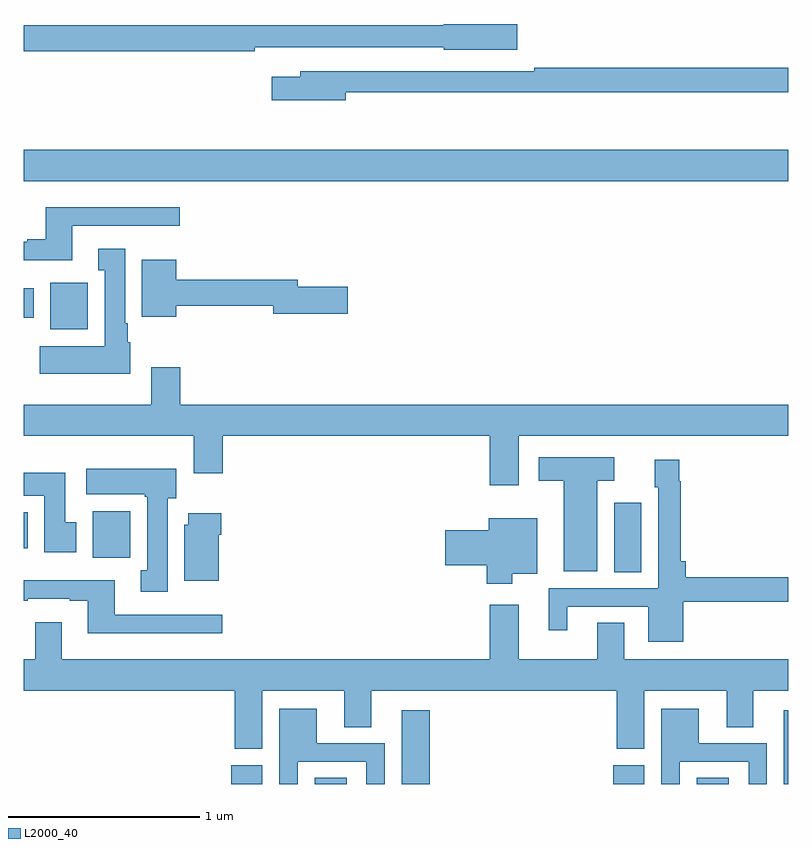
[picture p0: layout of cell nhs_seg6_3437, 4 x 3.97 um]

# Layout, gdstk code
import gdstk
lib = gdstk.Library(unit=1e-6, precision=1e-09)
def R(c, l, rs):  # rectangles x0, y0, x1, y1
    for r in rs: c.add(gdstk.rectangle(r[:2], r[2:], *l))
def P(c, l, *ps):  # polygons
    for p in ps: c.add(gdstk.Polygon(p, *l))
L2000_40 = (2000, 40)

nhs_seg6_3437 = lib.new_cell('nhs_seg6_3437')
R(nhs_seg6_3437, L2000_40, [(314.087,961.5,314.248,961.599), (314.522,961.5,314.689,961.532), (314.978,961.5,315.125,961.885), (316.085,961.5,316.246,961.599), (316.52,961.5,316.687,961.532), (316.976,961.5,317,961.885), (316.088,962.608,316.231,962.971), (313.361,962.684,313.558,962.926), (313,962.732,313.021,962.92), (313.139,963.878,313.336,964.12), (313,963.937,313.054,964.093), (313,964.652,317,964.816)])
P(nhs_seg6_3437, L2000_40, [(314.21,965.352),(315.198,965.352),(315.198,965.339),(315.583,965.339),(315.583,965.474),(315.198,965.474),(315.198,965.468),(313,965.468),(313,965.332),(314.21,965.332)],
  [(314.686,965.118),(317,965.118),(317,965.246),(315.67,965.246),(315.67,965.226),(314.447,965.226),(314.447,965.197),(314.298,965.197),(314.298,965.075),(314.686,965.075)],
  [(313.255,964.419),(313.816,964.419),(313.816,964.516),(313.115,964.516),(313.115,964.348),(313.019,964.348),(313.019,964.335),(313,964.335),(313,964.238),(313.255,964.238)],
  [(313.558,963.81),(313.546,963.81),(313.546,963.91),(313.531,963.91),(313.531,964.3),(313.391,964.3),(313.391,964.187),(313.424,964.187),(313.424,963.79),(313.085,963.79),(313.085,963.644),(313.558,963.644)],
  [(313.798,964),(314.306,964),(314.306,963.958),(314.695,963.958),(314.695,964.1),(314.434,964.1),(314.434,964.136),(313.798,964.136),(313.798,964.24),(313.619,964.24),(313.619,963.944),(313.798,963.944)],
  [(313.82,963.679),(313.667,963.679),(313.667,963.484),(313,963.484),(313,963.32),(313.889,963.32),(313.889,963.126),(314.042,963.126),(314.042,963.32),(315.437,963.32),(315.437,963.063),(315.589,963.063),(315.589,963.32),(317,963.32),(317,963.484),(313.82,963.484)],
  [(316,963.086),(316.09,963.086),(316.09,963.208),(315.693,963.208),(315.693,963.086),(315.824,963.086),(315.824,962.612),(316,962.612)],
  [(316.45,962.454),(317,962.454),(317,962.582),(316.463,962.582),(316.463,962.665),(316.436,962.665),(316.436,963.083),(316.429,963.083),(316.429,963.196),(316.301,963.196),(316.301,963.051),(316.32,963.051),(316.32,962.523),(315.746,962.523),(315.746,962.304),(315.844,962.304),(315.844,962.427),(316.268,962.427),(316.268,962.243),(316.45,962.243)],
  [(313.753,962.994),(313.798,962.994),(313.798,963.148),(313.329,963.148),(313.329,963.014),(313.633,963.014),(313.633,963.001),(313.646,963.001),(313.646,962.618),(313.613,962.618),(313.613,962.505),(313.753,962.505)],
  [(313.276,962.868),(313.219,962.868),(313.219,963.127),(313,963.127),(313,963.008),(313.109,963.008),(313.109,962.712),(313.276,962.712)],
  [(314.02,962.804),(314.033,962.804),(314.033,962.917),(313.862,962.917),(313.862,962.856),(313.841,962.856),(313.841,962.564),(314.02,962.564)],
  [(315.556,962.6),(315.685,962.6),(315.685,962.89),(315.434,962.89),(315.434,962.828),(315.204,962.828),(315.204,962.645),(315.422,962.645),(315.422,962.546),(315.556,962.546)],
  [(314.038,962.385),(313.477,962.385),(313.477,962.566),(313,962.566),(313,962.457),(313.021,962.457),(313.021,962.469),(313.241,962.469),(313.241,962.457),(313.337,962.457),(313.337,962.288),(314.038,962.288)],
  [(314.248,961.988),(314.678,961.988),(314.678,961.798),(314.818,961.798),(314.818,961.988),(316.103,961.988),(316.103,961.684),(316.246,961.684),(316.246,961.988),(316.676,961.988),(316.676,961.798),(316.816,961.798),(316.816,961.988),(317,961.988),(317,962.152),(316.141,962.152),(316.141,962.342),(316.001,962.342),(316.001,962.152),(315.589,962.152),(315.589,962.437),(315.437,962.437),(315.437,962.152),(313.201,962.152),(313.201,962.347),(313.061,962.347),(313.061,962.152),(313,962.152),(313,961.988),(314.105,961.988),(314.105,961.684),(314.248,961.684)],
  [(314.433,961.617),(314.793,961.617),(314.793,961.5),(314.889,961.5),(314.889,961.713),(314.533,961.713),(314.533,961.894),(314.337,961.894),(314.337,961.5),(314.433,961.5)],
  [(316.431,961.617),(316.791,961.617),(316.791,961.5),(316.887,961.5),(316.887,961.713),(316.531,961.713),(316.531,961.894),(316.335,961.894),(316.335,961.5),(316.431,961.5)])

lib.write_gds('nhs_seg6_3437.gds')
